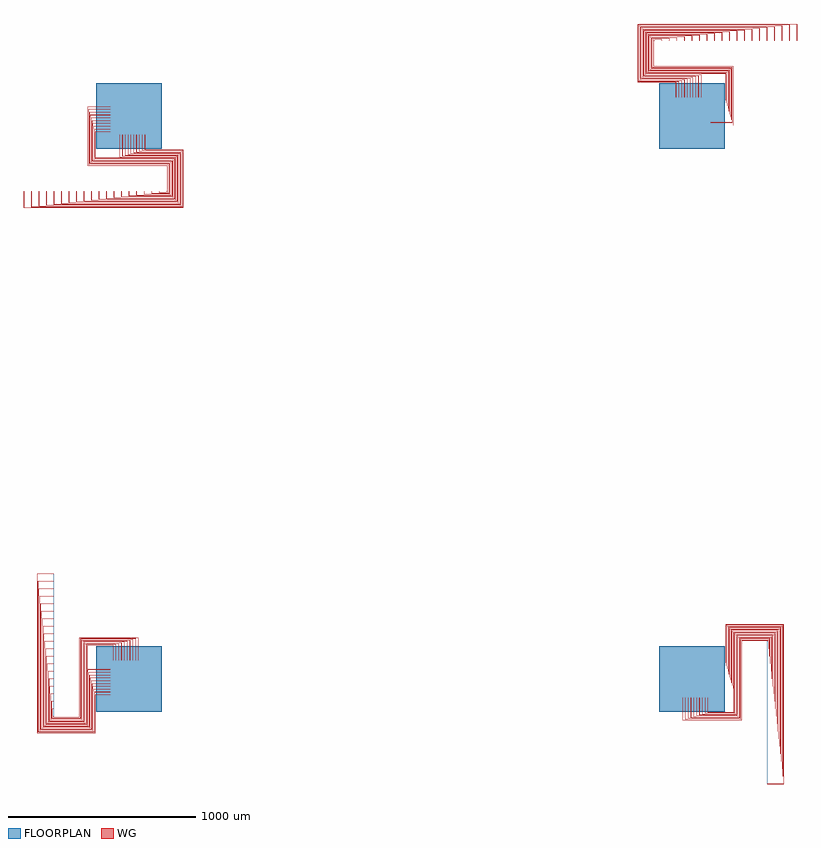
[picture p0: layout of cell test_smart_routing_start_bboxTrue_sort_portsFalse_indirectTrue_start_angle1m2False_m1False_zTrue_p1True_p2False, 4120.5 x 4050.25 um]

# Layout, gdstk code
import gdstk
lib = gdstk.Library(unit=1e-6, precision=1e-09)
def R(c, l, rs):  # rectangles x0, y0, x1, y1
    for r in rs: c.add(gdstk.rectangle(r[:2], r[2:], *l))
def P(c, l, *ps):  # polygons
    for p in ps: c.add(gdstk.Polygon(p, *l))
WG = (1, 0)
FLOORPLAN = (10, 0)

test_smart_routing_start = lib.new_cell('test_smart_routing_start_bboxTrue_sort_portsFalse_indirectTrue_start_angle1m2False_m1False_zTrue_p1True_p2False')
P(test_smart_routing_start, WG, [(3100,2949.75),(3100,2949.95),(3219.8,2949.95),(3219.8,3264.8),(2795.55,3264.8),(2795.55,3404.2),(2799.95,3404.2),(2799.95,3400),(2799.75,3400),(2799.75,3404),(2795.75,3404),(2795.75,3265),(3220,3265),(3220,2949.75)],
  [(3100,2950.05),(3100,2950.25),(3219.5,2950.25),(3219.5,3264.5),(2795.25,3264.5),(2795.25,3404.5),(2800.25,3404.5),(2800.25,3400),(2800.05,3400),(2800.05,3404.3),(2795.45,3404.3),(2795.45,3264.7),(3219.7,3264.7),(3219.7,2950.05)],
  [(3100,2964.75),(3100,2964.95),(3215.3,2964.95),(3215.3,3260.3),(2791.05,3260.3),(2791.05,3408.7),(2839.95,3408.7),(2839.95,3400),(2839.75,3400),(2839.75,3408.5),(2791.25,3408.5),(2791.25,3260.5),(3215.5,3260.5),(3215.5,2964.75)],
  [(3100,2965.05),(3100,2965.25),(3215,2965.25),(3215,3260),(2790.75,3260),(2790.75,3409),(2840.25,3409),(2840.25,3400),(2840.05,3400),(2840.05,3408.8),(2790.95,3408.8),(2790.95,3260.2),(3215.2,3260.2),(3215.2,2965.05)],
  [(3100,2979.75),(3100,2979.95),(3210.8,2979.95),(3210.8,3255.8),(2786.55,3255.8),(2786.55,3413.2),(2879.95,3413.2),(2879.95,3400),(2879.75,3400),(2879.75,3413),(2786.75,3413),(2786.75,3256),(3211,3256),(3211,2979.75)],
  [(3100,2980.05),(3100,2980.25),(3210.5,2980.25),(3210.5,3255.5),(2786.25,3255.5),(2786.25,3413.5),(2880.25,3413.5),(2880.25,3400),(2880.05,3400),(2880.05,3413.3),(2786.45,3413.3),(2786.45,3255.7),(3210.7,3255.7),(3210.7,2980.05)],
  [(3100,2994.75),(3100,2994.95),(3206.3,2994.95),(3206.3,3251.3),(2782.05,3251.3),(2782.05,3417.7),(2919.95,3417.7),(2919.95,3400),(2919.75,3400),(2919.75,3417.5),(2782.25,3417.5),(2782.25,3251.5),(3206.5,3251.5),(3206.5,2994.75)],
  [(3100,2995.05),(3100,2995.25),(3206,2995.25),(3206,3251),(2781.75,3251),(2781.75,3418),(2920.25,3418),(2920.25,3400),(2920.05,3400),(2920.05,3417.8),(2781.95,3417.8),(2781.95,3251.2),(3206.2,3251.2),(3206.2,2995.05)],
  [(3100,3009.75),(3100,3009.95),(3201.8,3009.95),(3201.8,3246.8),(2777.55,3246.8),(2777.55,3422.2),(2959.95,3422.2),(2959.95,3400),(2959.75,3400),(2959.75,3422),(2777.75,3422),(2777.75,3247),(3202,3247),(3202,3009.75)],
  [(3100,3010.05),(3100,3010.25),(3201.5,3010.25),(3201.5,3246.5),(2777.25,3246.5),(2777.25,3422.5),(2960.25,3422.5),(2960.25,3400),(2960.05,3400),(2960.05,3422.3),(2777.45,3422.3),(2777.45,3246.7),(3201.7,3246.7),(3201.7,3010.05)],
  [(3100,3024.75),(3100,3024.95),(3197.3,3024.95),(3197.3,3242.3),(2773.05,3242.3),(2773.05,3426.7),(2999.95,3426.7),(2999.95,3400),(2999.75,3400),(2999.75,3426.5),(2773.25,3426.5),(2773.25,3242.5),(3197.5,3242.5),(3197.5,3024.75)],
  [(3100,3025.05),(3100,3025.25),(3197,3025.25),(3197,3242),(2772.75,3242),(2772.75,3427),(3000.25,3427),(3000.25,3400),(3000.05,3400),(3000.05,3426.8),(2772.95,3426.8),(2772.95,3242.2),(3197.2,3242.2),(3197.2,3025.05)],
  [(3100,3039.75),(3100,3039.95),(3192.8,3039.95),(3192.8,3237.8),(2768.55,3237.8),(2768.55,3431.2),(3039.95,3431.2),(3039.95,3400),(3039.75,3400),(3039.75,3431),(2768.75,3431),(2768.75,3238),(3193,3238),(3193,3039.75)],
  [(3100,3040.05),(3100,3040.25),(3192.5,3040.25),(3192.5,3237.5),(2768.25,3237.5),(2768.25,3431.5),(3040.25,3431.5),(3040.25,3400),(3040.05,3400),(3040.05,3431.3),(2768.45,3431.3),(2768.45,3237.7),(3192.7,3237.7),(3192.7,3040.05)],
  [(3100,3054.75),(3100,3054.95),(3188.3,3054.95),(3188.3,3233.3),(2764.05,3233.3),(2764.05,3435.7),(3079.95,3435.7),(3079.95,3400),(3079.75,3400),(3079.75,3435.5),(2764.25,3435.5),(2764.25,3233.5),(3188.5,3233.5),(3188.5,3054.75)],
  [(3100,3055.05),(3100,3055.25),(3188,3055.25),(3188,3233),(2763.75,3233),(2763.75,3436),(3080.25,3436),(3080.25,3400),(3080.05,3400),(3080.05,3435.8),(2763.95,3435.8),(2763.95,3233.2),(3188.2,3233.2),(3188.2,3055.05)],
  [(3100,3069.75),(3100,3069.95),(3183.8,3069.95),(3183.8,3228.8),(2759.55,3228.8),(2759.55,3440.2),(3119.95,3440.2),(3119.95,3400),(3119.75,3400),(3119.75,3440),(2759.75,3440),(2759.75,3229),(3184,3229),(3184,3069.75)],
  [(3100,3070.05),(3100,3070.25),(3183.5,3070.25),(3183.5,3228.5),(2759.25,3228.5),(2759.25,3440.5),(3120.25,3440.5),(3120.25,3400),(3120.05,3400),(3120.05,3440.3),(2759.45,3440.3),(2759.45,3228.7),(3183.7,3228.7),(3183.7,3070.05)],
  [(3100,3084.75),(3100,3084.95),(3179.3,3084.95),(3179.3,3224.3),(2755.05,3224.3),(2755.05,3444.7),(3159.95,3444.7),(3159.95,3400),(3159.75,3400),(3159.75,3444.5),(2755.25,3444.5),(2755.25,3224.5),(3179.5,3224.5),(3179.5,3084.75)],
  [(3100,3085.05),(3100,3085.25),(3179,3085.25),(3179,3224),(2754.75,3224),(2754.75,3445),(3160.25,3445),(3160.25,3400),(3160.05,3400),(3160.05,3444.8),(2754.95,3444.8),(2754.95,3224.2),(3179.2,3224.2),(3179.2,3085.05)],
  [(3050.05,3100),(3050.05,3219.8),(2750.55,3219.8),(2750.55,3449.2),(3199.95,3449.2),(3199.95,3400),(3199.75,3400),(3199.75,3449),(2750.75,3449),(2750.75,3220),(3050.25,3220),(3050.25,3100)],
  [(3049.75,3100),(3049.75,3219.5),(2750.25,3219.5),(2750.25,3449.5),(3200.25,3449.5),(3200.25,3400),(3200.05,3400),(3200.05,3449.3),(2750.45,3449.3),(2750.45,3219.7),(3049.95,3219.7),(3049.95,3100)],
  [(3035.05,3100),(3035.05,3215.3),(2746.05,3215.3),(2746.05,3453.7),(3239.95,3453.7),(3239.95,3400),(3239.75,3400),(3239.75,3453.5),(2746.25,3453.5),(2746.25,3215.5),(3035.25,3215.5),(3035.25,3100)],
  [(3034.75,3100),(3034.75,3215),(2745.75,3215),(2745.75,3454),(3240.25,3454),(3240.25,3400),(3240.05,3400),(3240.05,3453.8),(2745.95,3453.8),(2745.95,3215.2),(3034.95,3215.2),(3034.95,3100)],
  [(3020.05,3100),(3020.05,3210.8),(2741.55,3210.8),(2741.55,3458.2),(3279.95,3458.2),(3279.95,3400),(3279.75,3400),(3279.75,3458),(2741.75,3458),(2741.75,3211),(3020.25,3211),(3020.25,3100)],
  [(3019.75,3100),(3019.75,3210.5),(2741.25,3210.5),(2741.25,3458.5),(3280.25,3458.5),(3280.25,3400),(3280.05,3400),(3280.05,3458.3),(2741.45,3458.3),(2741.45,3210.7),(3019.95,3210.7),(3019.95,3100)],
  [(3005.05,3100),(3005.05,3206.3),(2737.05,3206.3),(2737.05,3462.7),(3319.95,3462.7),(3319.95,3400),(3319.75,3400),(3319.75,3462.5),(2737.25,3462.5),(2737.25,3206.5),(3005.25,3206.5),(3005.25,3100)],
  [(3004.75,3100),(3004.75,3206),(2736.75,3206),(2736.75,3463),(3320.25,3463),(3320.25,3400),(3320.05,3400),(3320.05,3462.8),(2736.95,3462.8),(2736.95,3206.2),(3004.95,3206.2),(3004.95,3100)],
  [(2990.05,3100),(2990.05,3201.8),(2732.55,3201.8),(2732.55,3467.2),(3359.95,3467.2),(3359.95,3400),(3359.75,3400),(3359.75,3467),(2732.75,3467),(2732.75,3202),(2990.25,3202),(2990.25,3100)],
  [(2989.75,3100),(2989.75,3201.5),(2732.25,3201.5),(2732.25,3467.5),(3360.25,3467.5),(3360.25,3400),(3360.05,3400),(3360.05,3467.3),(2732.45,3467.3),(2732.45,3201.7),(2989.95,3201.7),(2989.95,3100)],
  [(2975.05,3100),(2975.05,3197.3),(2728.05,3197.3),(2728.05,3471.7),(3399.95,3471.7),(3399.95,3400),(3399.75,3400),(3399.75,3471.5),(2728.25,3471.5),(2728.25,3197.5),(2975.25,3197.5),(2975.25,3100)],
  [(2974.75,3100),(2974.75,3197),(2727.75,3197),(2727.75,3472),(3400.25,3472),(3400.25,3400),(3400.05,3400),(3400.05,3471.8),(2727.95,3471.8),(2727.95,3197.2),(2974.95,3197.2),(2974.95,3100)],
  [(2960.05,3100),(2960.05,3192.8),(2723.55,3192.8),(2723.55,3476.2),(3439.95,3476.2),(3439.95,3400),(3439.75,3400),(3439.75,3476),(2723.75,3476),(2723.75,3193),(2960.25,3193),(2960.25,3100)],
  [(2959.75,3100),(2959.75,3192.5),(2723.25,3192.5),(2723.25,3476.5),(3440.25,3476.5),(3440.25,3400),(3440.05,3400),(3440.05,3476.3),(2723.45,3476.3),(2723.45,3192.7),(2959.95,3192.7),(2959.95,3100)],
  [(2945.05,3100),(2945.05,3188.3),(2719.05,3188.3),(2719.05,3480.7),(3479.95,3480.7),(3479.95,3400),(3479.75,3400),(3479.75,3480.5),(2719.25,3480.5),(2719.25,3188.5),(2945.25,3188.5),(2945.25,3100)],
  [(2944.75,3100),(2944.75,3188),(2718.75,3188),(2718.75,3481),(3480.25,3481),(3480.25,3400),(3480.05,3400),(3480.05,3480.8),(2718.95,3480.8),(2718.95,3188.2),(2944.95,3188.2),(2944.95,3100)],
  [(2930.05,3100),(2930.05,3183.8),(2714.55,3183.8),(2714.55,3485.2),(3519.95,3485.2),(3519.95,3400),(3519.75,3400),(3519.75,3485),(2714.75,3485),(2714.75,3184),(2930.25,3184),(2930.25,3100)],
  [(2929.75,3100),(2929.75,3183.5),(2714.25,3183.5),(2714.25,3485.5),(3520.25,3485.5),(3520.25,3400),(3520.05,3400),(3520.05,3485.3),(2714.45,3485.3),(2714.45,3183.7),(2929.95,3183.7),(2929.95,3100)],
  [(2915.05,3100),(2915.05,3179.3),(2710.05,3179.3),(2710.05,3489.7),(3559.95,3489.7),(3559.95,3400),(3559.75,3400),(3559.75,3489.5),(2710.25,3489.5),(2710.25,3179.5),(2915.25,3179.5),(2915.25,3100)],
  [(2914.75,3100),(2914.75,3179),(2709.75,3179),(2709.75,3490),(3560.25,3490),(3560.25,3400),(3560.05,3400),(3560.05,3489.8),(2709.95,3489.8),(2709.95,3179.2),(2914.95,3179.2),(2914.95,3100)],
  [(199.75,2595.5),(199.75,2600),(199.95,2600),(199.95,2595.7),(204.55,2595.7),(204.55,2735.3),(-219.7,2735.3),(-219.7,3049.95),(-100,3049.95),(-100,3049.75),(-219.5,3049.75),(-219.5,2735.5),(204.75,2735.5),(204.75,2595.5)],
  [(200.05,2595.8),(200.05,2600),(200.25,2600),(200.25,2596),(204.25,2596),(204.25,2735),(-220,2735),(-220,3050.25),(-100,3050.25),(-100,3050.05),(-219.8,3050.05),(-219.8,2735.2),(204.45,2735.2),(204.45,2595.8)],
  [(159.75,2591),(159.75,2600),(159.95,2600),(159.95,2591.2),(209.05,2591.2),(209.05,2739.8),(-215.2,2739.8),(-215.2,3034.95),(-100,3034.95),(-100,3034.75),(-215,3034.75),(-215,2740),(209.25,2740),(209.25,2591)],
  [(160.05,2591.3),(160.05,2600),(160.25,2600),(160.25,2591.5),(208.75,2591.5),(208.75,2739.5),(-215.5,2739.5),(-215.5,3035.25),(-100,3035.25),(-100,3035.05),(-215.3,3035.05),(-215.3,2739.7),(208.95,2739.7),(208.95,2591.3)],
  [(119.75,2586.5),(119.75,2600),(119.95,2600),(119.95,2586.7),(213.55,2586.7),(213.55,2744.3),(-210.7,2744.3),(-210.7,3019.95),(-100,3019.95),(-100,3019.75),(-210.5,3019.75),(-210.5,2744.5),(213.75,2744.5),(213.75,2586.5)],
  [(120.05,2586.8),(120.05,2600),(120.25,2600),(120.25,2587),(213.25,2587),(213.25,2744),(-211,2744),(-211,3020.25),(-100,3020.25),(-100,3020.05),(-210.8,3020.05),(-210.8,2744.2),(213.45,2744.2),(213.45,2586.8)],
  [(79.75,2582),(79.75,2600),(79.95,2600),(79.95,2582.2),(218.05,2582.2),(218.05,2748.8),(-206.2,2748.8),(-206.2,3004.95),(-100,3004.95),(-100,3004.75),(-206,3004.75),(-206,2749),(218.25,2749),(218.25,2582)],
  [(80.05,2582.3),(80.05,2600),(80.25,2600),(80.25,2582.5),(217.75,2582.5),(217.75,2748.5),(-206.5,2748.5),(-206.5,3005.25),(-100,3005.25),(-100,3005.05),(-206.3,3005.05),(-206.3,2748.7),(217.95,2748.7),(217.95,2582.3)],
  [(39.75,2577.5),(39.75,2600),(39.95,2600),(39.95,2577.7),(222.55,2577.7),(222.55,2753.3),(-201.7,2753.3),(-201.7,2989.95),(-100,2989.95),(-100,2989.75),(-201.5,2989.75),(-201.5,2753.5),(222.75,2753.5),(222.75,2577.5)],
  [(40.05,2577.8),(40.05,2600),(40.25,2600),(40.25,2578),(222.25,2578),(222.25,2753),(-202,2753),(-202,2990.25),(-100,2990.25),(-100,2990.05),(-201.8,2990.05),(-201.8,2753.2),(222.45,2753.2),(222.45,2577.8)],
  [(-0.25,2573),(-0.25,2600),(-0.05,2600),(-0.05,2573.2),(227.05,2573.2),(227.05,2757.8),(-197.2,2757.8),(-197.2,2974.95),(-100,2974.95),(-100,2974.75),(-197,2974.75),(-197,2758),(227.25,2758),(227.25,2573)],
  [(0.05,2573.3),(0.05,2600),(0.25,2600),(0.25,2573.5),(226.75,2573.5),(226.75,2757.5),(-197.5,2757.5),(-197.5,2975.25),(-100,2975.25),(-100,2975.05),(-197.3,2975.05),(-197.3,2757.7),(226.95,2757.7),(226.95,2573.3)],
  [(-40.25,2568.5),(-40.25,2600),(-40.05,2600),(-40.05,2568.7),(231.55,2568.7),(231.55,2762.3),(-192.7,2762.3),(-192.7,2959.95),(-100,2959.95),(-100,2959.75),(-192.5,2959.75),(-192.5,2762.5),(231.75,2762.5),(231.75,2568.5)],
  [(-39.95,2568.8),(-39.95,2600),(-39.75,2600),(-39.75,2569),(231.25,2569),(231.25,2762),(-193,2762),(-193,2960.25),(-100,2960.25),(-100,2960.05),(-192.8,2960.05),(-192.8,2762.2),(231.45,2762.2),(231.45,2568.8)],
  [(-80.25,2564),(-80.25,2600),(-80.05,2600),(-80.05,2564.2),(236.05,2564.2),(236.05,2766.8),(-188.2,2766.8),(-188.2,2944.95),(-100,2944.95),(-100,2944.75),(-188,2944.75),(-188,2767),(236.25,2767),(236.25,2564)],
  [(-79.95,2564.3),(-79.95,2600),(-79.75,2600),(-79.75,2564.5),(235.75,2564.5),(235.75,2766.5),(-188.5,2766.5),(-188.5,2945.25),(-100,2945.25),(-100,2945.05),(-188.3,2945.05),(-188.3,2766.7),(235.95,2766.7),(235.95,2564.3)],
  [(-120.25,2559.5),(-120.25,2600),(-120.05,2600),(-120.05,2559.7),(240.55,2559.7),(240.55,2771.3),(-183.7,2771.3),(-183.7,2929.95),(-100,2929.95),(-100,2929.75),(-183.5,2929.75),(-183.5,2771.5),(240.75,2771.5),(240.75,2559.5)],
  [(-119.95,2559.8),(-119.95,2600),(-119.75,2600),(-119.75,2560),(240.25,2560),(240.25,2771),(-184,2771),(-184,2930.25),(-100,2930.25),(-100,2930.05),(-183.8,2930.05),(-183.8,2771.2),(240.45,2771.2),(240.45,2559.8)],
  [(-160.25,2555),(-160.25,2600),(-160.05,2600),(-160.05,2555.2),(245.05,2555.2),(245.05,2775.8),(-179.2,2775.8),(-179.2,2914.95),(-100,2914.95),(-100,2914.75),(-179,2914.75),(-179,2776),(245.25,2776),(245.25,2555)],
  [(-159.95,2555.3),(-159.95,2600),(-159.75,2600),(-159.75,2555.5),(244.75,2555.5),(244.75,2775.5),(-179.5,2775.5),(-179.5,2915.25),(-100,2915.25),(-100,2915.05),(-179.3,2915.05),(-179.3,2775.7),(244.95,2775.7),(244.95,2555.3)],
  [(-199.95,2550.8),(-199.95,2600),(-199.75,2600),(-199.75,2551),(249.25,2551),(249.25,2780),(-50.25,2780),(-50.25,2900),(-50.05,2900),(-50.05,2780.2),(249.45,2780.2),(249.45,2550.8)],
  [(-200.25,2550.5),(-200.25,2600),(-200.05,2600),(-200.05,2550.7),(249.55,2550.7),(249.55,2780.3),(-49.95,2780.3),(-49.95,2900),(-49.75,2900),(-49.75,2780.5),(249.75,2780.5),(249.75,2550.5)],
  [(-239.95,2546.3),(-239.95,2600),(-239.75,2600),(-239.75,2546.5),(253.75,2546.5),(253.75,2784.5),(-35.25,2784.5),(-35.25,2900),(-35.05,2900),(-35.05,2784.7),(253.95,2784.7),(253.95,2546.3)],
  [(-240.25,2546),(-240.25,2600),(-240.05,2600),(-240.05,2546.2),(254.05,2546.2),(254.05,2784.8),(-34.95,2784.8),(-34.95,2900),(-34.75,2900),(-34.75,2785),(254.25,2785),(254.25,2546)],
  [(-279.95,2541.8),(-279.95,2600),(-279.75,2600),(-279.75,2542),(258.25,2542),(258.25,2789),(-20.25,2789),(-20.25,2900),(-20.05,2900),(-20.05,2789.2),(258.45,2789.2),(258.45,2541.8)],
  [(-280.25,2541.5),(-280.25,2600),(-280.05,2600),(-280.05,2541.7),(258.55,2541.7),(258.55,2789.3),(-19.95,2789.3),(-19.95,2900),(-19.75,2900),(-19.75,2789.5),(258.75,2789.5),(258.75,2541.5)],
  [(-319.95,2537.3),(-319.95,2600),(-319.75,2600),(-319.75,2537.5),(262.75,2537.5),(262.75,2793.5),(-5.25,2793.5),(-5.25,2900),(-5.05,2900),(-5.05,2793.7),(262.95,2793.7),(262.95,2537.3)],
  [(-320.25,2537),(-320.25,2600),(-320.05,2600),(-320.05,2537.2),(263.05,2537.2),(263.05,2793.8),(-4.95,2793.8),(-4.95,2900),(-4.75,2900),(-4.75,2794),(263.25,2794),(263.25,2537)],
  [(-359.95,2532.8),(-359.95,2600),(-359.75,2600),(-359.75,2533),(267.25,2533),(267.25,2798),(9.75,2798),(9.75,2900),(9.95,2900),(9.95,2798.2),(267.45,2798.2),(267.45,2532.8)],
  [(-360.25,2532.5),(-360.25,2600),(-360.05,2600),(-360.05,2532.7),(267.55,2532.7),(267.55,2798.3),(10.05,2798.3),(10.05,2900),(10.25,2900),(10.25,2798.5),(267.75,2798.5),(267.75,2532.5)],
  [(-399.95,2528.3),(-399.95,2600),(-399.75,2600),(-399.75,2528.5),(271.75,2528.5),(271.75,2802.5),(24.75,2802.5),(24.75,2900),(24.95,2900),(24.95,2802.7),(271.95,2802.7),(271.95,2528.3)],
  [(-400.25,2528),(-400.25,2600),(-400.05,2600),(-400.05,2528.2),(272.05,2528.2),(272.05,2802.8),(25.05,2802.8),(25.05,2900),(25.25,2900),(25.25,2803),(272.25,2803),(272.25,2528)],
  [(-439.95,2523.8),(-439.95,2600),(-439.75,2600),(-439.75,2524),(276.25,2524),(276.25,2807),(39.75,2807),(39.75,2900),(39.95,2900),(39.95,2807.2),(276.45,2807.2),(276.45,2523.8)],
  [(-440.25,2523.5),(-440.25,2600),(-440.05,2600),(-440.05,2523.7),(276.55,2523.7),(276.55,2807.3),(40.05,2807.3),(40.05,2900),(40.25,2900),(40.25,2807.5),(276.75,2807.5),(276.75,2523.5)],
  [(-479.95,2519.3),(-479.95,2600),(-479.75,2600),(-479.75,2519.5),(280.75,2519.5),(280.75,2811.5),(54.75,2811.5),(54.75,2900),(54.95,2900),(54.95,2811.7),(280.95,2811.7),(280.95,2519.3)],
  [(-480.25,2519),(-480.25,2600),(-480.05,2600),(-480.05,2519.2),(281.05,2519.2),(281.05,2811.8),(55.05,2811.8),(55.05,2900),(55.25,2900),(55.25,2812),(281.25,2812),(281.25,2519)],
  [(-519.95,2514.8),(-519.95,2600),(-519.75,2600),(-519.75,2515),(285.25,2515),(285.25,2816),(69.75,2816),(69.75,2900),(69.95,2900),(69.95,2816.2),(285.45,2816.2),(285.45,2514.8)],
  [(-520.25,2514.5),(-520.25,2600),(-520.05,2600),(-520.05,2514.7),(285.55,2514.7),(285.55,2816.3),(70.05,2816.3),(70.05,2900),(70.25,2900),(70.25,2816.5),(285.75,2816.5),(285.75,2514.5)],
  [(-559.95,2510.3),(-559.95,2600),(-559.75,2600),(-559.75,2510.5),(289.75,2510.5),(289.75,2820.5),(84.75,2820.5),(84.75,2900),(84.95,2900),(84.95,2820.7),(289.95,2820.7),(289.95,2510.3)],
  [(-560.25,2510),(-560.25,2600),(-560.05,2600),(-560.05,2510.2),(290.05,2510.2),(290.05,2820.8),(85.05,2820.8),(85.05,2900),(85.25,2900),(85.25,2821),(290.25,2821),(290.25,2510)],
  [(-404.5,-204.75),(-404.5,-199.75),(-400,-199.75),(-400,-199.95),(-404.3,-199.95),(-404.3,-204.55),(-264.7,-204.55),(-264.7,219.7),(49.95,219.7),(49.95,100),(49.75,100),(49.75,219.5),(-264.5,219.5),(-264.5,-204.75)],
  [(-404.2,-204.45),(-404.2,-200.05),(-400,-200.05),(-400,-200.25),(-404,-200.25),(-404,-204.25),(-265,-204.25),(-265,220),(50.25,220),(50.25,100),(50.05,100),(50.05,219.8),(-264.8,219.8),(-264.8,-204.45)],
  [(-409,-209.25),(-409,-159.75),(-400,-159.75),(-400,-159.95),(-408.8,-159.95),(-408.8,-209.05),(-260.2,-209.05),(-260.2,215.2),(34.95,215.2),(34.95,100),(34.75,100),(34.75,215),(-260,215),(-260,-209.25)],
  [(-408.7,-208.95),(-408.7,-160.05),(-400,-160.05),(-400,-160.25),(-408.5,-160.25),(-408.5,-208.75),(-260.5,-208.75),(-260.5,215.5),(35.25,215.5),(35.25,100),(35.05,100),(35.05,215.3),(-260.3,215.3),(-260.3,-208.95)],
  [(-413.5,-213.75),(-413.5,-119.75),(-400,-119.75),(-400,-119.95),(-413.3,-119.95),(-413.3,-213.55),(-255.7,-213.55),(-255.7,210.7),(19.95,210.7),(19.95,100),(19.75,100),(19.75,210.5),(-255.5,210.5),(-255.5,-213.75)],
  [(-413.2,-213.45),(-413.2,-120.05),(-400,-120.05),(-400,-120.25),(-413,-120.25),(-413,-213.25),(-256,-213.25),(-256,211),(20.25,211),(20.25,100),(20.05,100),(20.05,210.8),(-255.8,210.8),(-255.8,-213.45)],
  [(-418,-218.25),(-418,-79.75),(-400,-79.75),(-400,-79.95),(-417.8,-79.95),(-417.8,-218.05),(-251.2,-218.05),(-251.2,206.2),(4.95,206.2),(4.95,100),(4.75,100),(4.75,206),(-251,206),(-251,-218.25)],
  [(-417.7,-217.95),(-417.7,-80.05),(-400,-80.05),(-400,-80.25),(-417.5,-80.25),(-417.5,-217.75),(-251.5,-217.75),(-251.5,206.5),(5.25,206.5),(5.25,100),(5.05,100),(5.05,206.3),(-251.3,206.3),(-251.3,-217.95)],
  [(-422.5,-222.75),(-422.5,-39.75),(-400,-39.75),(-400,-39.95),(-422.3,-39.95),(-422.3,-222.55),(-246.7,-222.55),(-246.7,201.7),(-10.05,201.7),(-10.05,100),(-10.25,100),(-10.25,201.5),(-246.5,201.5),(-246.5,-222.75)],
  [(-422.2,-222.45),(-422.2,-40.05),(-400,-40.05),(-400,-40.25),(-422,-40.25),(-422,-222.25),(-247,-222.25),(-247,202),(-9.75,202),(-9.75,100),(-9.95,100),(-9.95,201.8),(-246.8,201.8),(-246.8,-222.45)],
  [(-427,-227.25),(-427,0.25),(-400,0.25),(-400,0.05),(-426.8,0.05),(-426.8,-227.05),(-242.2,-227.05),(-242.2,197.2),(-25.05,197.2),(-25.05,100),(-25.25,100),(-25.25,197),(-242,197),(-242,-227.25)],
  [(-426.7,-226.95),(-426.7,-0.05),(-400,-0.05),(-400,-0.25),(-426.5,-0.25),(-426.5,-226.75),(-242.5,-226.75),(-242.5,197.5),(-24.75,197.5),(-24.75,100),(-24.95,100),(-24.95,197.3),(-242.3,197.3),(-242.3,-226.95)],
  [(-431.5,-231.75),(-431.5,40.25),(-400,40.25),(-400,40.05),(-431.3,40.05),(-431.3,-231.55),(-237.7,-231.55),(-237.7,192.7),(-40.05,192.7),(-40.05,100),(-40.25,100),(-40.25,192.5),(-237.5,192.5),(-237.5,-231.75)],
  [(-431.2,-231.45),(-431.2,39.95),(-400,39.95),(-400,39.75),(-431,39.75),(-431,-231.25),(-238,-231.25),(-238,193),(-39.75,193),(-39.75,100),(-39.95,100),(-39.95,192.8),(-237.8,192.8),(-237.8,-231.45)],
  [(-436,-236.25),(-436,80.25),(-400,80.25),(-400,80.05),(-435.8,80.05),(-435.8,-236.05),(-233.2,-236.05),(-233.2,188.2),(-55.05,188.2),(-55.05,100),(-55.25,100),(-55.25,188),(-233,188),(-233,-236.25)],
  [(-435.7,-235.95),(-435.7,79.95),(-400,79.95),(-400,79.75),(-435.5,79.75),(-435.5,-235.75),(-233.5,-235.75),(-233.5,188.5),(-54.75,188.5),(-54.75,100),(-54.95,100),(-54.95,188.3),(-233.3,188.3),(-233.3,-235.95)],
  [(-440.5,-240.75),(-440.5,120.25),(-400,120.25),(-400,120.05),(-440.3,120.05),(-440.3,-240.55),(-228.7,-240.55),(-228.7,183.7),(-70.05,183.7),(-70.05,100),(-70.25,100),(-70.25,183.5),(-228.5,183.5),(-228.5,-240.75)],
  [(-440.2,-240.45),(-440.2,119.95),(-400,119.95),(-400,119.75),(-440,119.75),(-440,-240.25),(-229,-240.25),(-229,184),(-69.75,184),(-69.75,100),(-69.95,100),(-69.95,183.8),(-228.8,183.8),(-228.8,-240.45)],
  [(-445,-245.25),(-445,160.25),(-400,160.25),(-400,160.05),(-444.8,160.05),(-444.8,-245.05),(-224.2,-245.05),(-224.2,179.2),(-85.05,179.2),(-85.05,100),(-85.25,100),(-85.25,179),(-224,179),(-224,-245.25)],
  [(-444.7,-244.95),(-444.7,159.95),(-400,159.95),(-400,159.75),(-444.5,159.75),(-444.5,-244.75),(-224.5,-244.75),(-224.5,179.5),(-84.75,179.5),(-84.75,100),(-84.95,100),(-84.95,179.3),(-224.3,179.3),(-224.3,-244.95)],
  [(-449.2,-249.45),(-449.2,199.95),(-400,199.95),(-400,199.75),(-449,199.75),(-449,-249.25),(-220,-249.25),(-220,50.25),(-100,50.25),(-100,50.05),(-219.8,50.05),(-219.8,-249.45)],
  [(-449.5,-249.75),(-449.5,200.25),(-400,200.25),(-400,200.05),(-449.3,200.05),(-449.3,-249.55),(-219.7,-249.55),(-219.7,49.95),(-100,49.95),(-100,49.75),(-219.5,49.75),(-219.5,-249.75)],
  [(-453.7,-253.95),(-453.7,239.95),(-400,239.95),(-400,239.75),(-453.5,239.75),(-453.5,-253.75),(-215.5,-253.75),(-215.5,35.25),(-100,35.25),(-100,35.05),(-215.3,35.05),(-215.3,-253.95)],
  [(-454,-254.25),(-454,240.25),(-400,240.25),(-400,240.05),(-453.8,240.05),(-453.8,-254.05),(-215.2,-254.05),(-215.2,34.95),(-100,34.95),(-100,34.75),(-215,34.75),(-215,-254.25)],
  [(-458.2,-258.45),(-458.2,279.95),(-400,279.95),(-400,279.75),(-458,279.75),(-458,-258.25),(-211,-258.25),(-211,20.25),(-100,20.25),(-100,20.05),(-210.8,20.05),(-210.8,-258.45)],
  [(-458.5,-258.75),(-458.5,280.25),(-400,280.25),(-400,280.05),(-458.3,280.05),(-458.3,-258.55),(-210.7,-258.55),(-210.7,19.95),(-100,19.95),(-100,19.75),(-210.5,19.75),(-210.5,-258.75)],
  [(-462.7,-262.95),(-462.7,319.95),(-400,319.95),(-400,319.75),(-462.5,319.75),(-462.5,-262.75),(-206.5,-262.75),(-206.5,5.25),(-100,5.25),(-100,5.05),(-206.3,5.05),(-206.3,-262.95)],
  [(-463,-263.25),(-463,320.25),(-400,320.25),(-400,320.05),(-462.8,320.05),(-462.8,-263.05),(-206.2,-263.05),(-206.2,4.95),(-100,4.95),(-100,4.75),(-206,4.75),(-206,-263.25)],
  [(-467.2,-267.45),(-467.2,359.95),(-400,359.95),(-400,359.75),(-467,359.75),(-467,-267.25),(-202,-267.25),(-202,-9.75),(-100,-9.75),(-100,-9.95),(-201.8,-9.95),(-201.8,-267.45)],
  [(-467.5,-267.75),(-467.5,360.25),(-400,360.25),(-400,360.05),(-467.3,360.05),(-467.3,-267.55),(-201.7,-267.55),(-201.7,-10.05),(-100,-10.05),(-100,-10.25),(-201.5,-10.25),(-201.5,-267.75)],
  [(-471.7,-271.95),(-471.7,399.95),(-400,399.95),(-400,399.75),(-471.5,399.75),(-471.5,-271.75),(-197.5,-271.75),(-197.5,-24.75),(-100,-24.75),(-100,-24.95),(-197.3,-24.95),(-197.3,-271.95)],
  [(-472,-272.25),(-472,400.25),(-400,400.25),(-400,400.05),(-471.8,400.05),(-471.8,-272.05),(-197.2,-272.05),(-197.2,-25.05),(-100,-25.05),(-100,-25.25),(-197,-25.25),(-197,-272.25)],
  [(-476.2,-276.45),(-476.2,439.95),(-400,439.95),(-400,439.75),(-476,439.75),(-476,-276.25),(-193,-276.25),(-193,-39.75),(-100,-39.75),(-100,-39.95),(-192.8,-39.95),(-192.8,-276.45)],
  [(-476.5,-276.75),(-476.5,440.25),(-400,440.25),(-400,440.05),(-476.3,440.05),(-476.3,-276.55),(-192.7,-276.55),(-192.7,-40.05),(-100,-40.05),(-100,-40.25),(-192.5,-40.25),(-192.5,-276.75)],
  [(-480.7,-280.95),(-480.7,479.95),(-400,479.95),(-400,479.75),(-480.5,479.75),(-480.5,-280.75),(-188.5,-280.75),(-188.5,-54.75),(-100,-54.75),(-100,-54.95),(-188.3,-54.95),(-188.3,-280.95)],
  [(-481,-281.25),(-481,480.25),(-400,480.25),(-400,480.05),(-480.8,480.05),(-480.8,-281.05),(-188.2,-281.05),(-188.2,-55.05),(-100,-55.05),(-100,-55.25),(-188,-55.25),(-188,-281.25)],
  [(-485.2,-285.45),(-485.2,519.95),(-400,519.95),(-400,519.75),(-485,519.75),(-485,-285.25),(-184,-285.25),(-184,-69.75),(-100,-69.75),(-100,-69.95),(-183.8,-69.95),(-183.8,-285.45)],
  [(-485.5,-285.75),(-485.5,520.25),(-400,520.25),(-400,520.05),(-485.3,520.05),(-485.3,-285.55),(-183.7,-285.55),(-183.7,-70.05),(-100,-70.05),(-100,-70.25),(-183.5,-70.25),(-183.5,-285.75)],
  [(-489.7,-289.95),(-489.7,559.95),(-400,559.95),(-400,559.75),(-489.5,559.75),(-489.5,-289.75),(-179.5,-289.75),(-179.5,-84.75),(-100,-84.75),(-100,-84.95),(-179.3,-84.95),(-179.3,-289.95)],
  [(-490,-290.25),(-490,560.25),(-400,560.25),(-400,560.05),(-489.8,560.05),(-489.8,-290.05),(-179.2,-290.05),(-179.2,-85.05),(-100,-85.05),(-100,-85.25),(-179,-85.25),(-179,-290.25)],
  [(2949.75,-220),(2949.75,-100),(2949.95,-100),(2949.95,-219.8),(3264.8,-219.8),(3264.8,204.45),(3404.2,204.45),(3404.2,200.05),(3400,200.05),(3400,200.25),(3404,200.25),(3404,204.25),(3265,204.25),(3265,-220)],
  [(2950.05,-219.7),(2950.05,-100),(2950.25,-100),(2950.25,-219.5),(3264.5,-219.5),(3264.5,204.75),(3404.5,204.75),(3404.5,199.75),(3400,199.75),(3400,199.95),(3404.3,199.95),(3404.3,204.55),(3264.7,204.55),(3264.7,-219.7)],
  [(2964.75,-215.5),(2964.75,-100),(2964.95,-100),(2964.95,-215.3),(3260.3,-215.3),(3260.3,208.95),(3408.7,208.95),(3408.7,160.05),(3400,160.05),(3400,160.25),(3408.5,160.25),(3408.5,208.75),(3260.5,208.75),(3260.5,-215.5)],
  [(2965.05,-215.2),(2965.05,-100),(2965.25,-100),(2965.25,-215),(3260,-215),(3260,209.25),(3409,209.25),(3409,159.75),(3400,159.75),(3400,159.95),(3408.8,159.95),(3408.8,209.05),(3260.2,209.05),(3260.2,-215.2)],
  [(2979.75,-211),(2979.75,-100),(2979.95,-100),(2979.95,-210.8),(3255.8,-210.8),(3255.8,213.45),(3413.2,213.45),(3413.2,120.05),(3400,120.05),(3400,120.25),(3413,120.25),(3413,213.25),(3256,213.25),(3256,-211)],
  [(2980.05,-210.7),(2980.05,-100),(2980.25,-100),(2980.25,-210.5),(3255.5,-210.5),(3255.5,213.75),(3413.5,213.75),(3413.5,119.75),(3400,119.75),(3400,119.95),(3413.3,119.95),(3413.3,213.55),(3255.7,213.55),(3255.7,-210.7)],
  [(2994.75,-206.5),(2994.75,-100),(2994.95,-100),(2994.95,-206.3),(3251.3,-206.3),(3251.3,217.95),(3417.7,217.95),(3417.7,80.05),(3400,80.05),(3400,80.25),(3417.5,80.25),(3417.5,217.75),(3251.5,217.75),(3251.5,-206.5)],
  [(2995.05,-206.2),(2995.05,-100),(2995.25,-100),(2995.25,-206),(3251,-206),(3251,218.25),(3418,218.25),(3418,79.75),(3400,79.75),(3400,79.95),(3417.8,79.95),(3417.8,218.05),(3251.2,218.05),(3251.2,-206.2)],
  [(3009.75,-202),(3009.75,-100),(3009.95,-100),(3009.95,-201.8),(3246.8,-201.8),(3246.8,222.45),(3422.2,222.45),(3422.2,40.05),(3400,40.05),(3400,40.25),(3422,40.25),(3422,222.25),(3247,222.25),(3247,-202)],
  [(3010.05,-201.7),(3010.05,-100),(3010.25,-100),(3010.25,-201.5),(3246.5,-201.5),(3246.5,222.75),(3422.5,222.75),(3422.5,39.75),(3400,39.75),(3400,39.95),(3422.3,39.95),(3422.3,222.55),(3246.7,222.55),(3246.7,-201.7)],
  [(3024.75,-197.5),(3024.75,-100),(3024.95,-100),(3024.95,-197.3),(3242.3,-197.3),(3242.3,226.95),(3426.7,226.95),(3426.7,0.05),(3400,0.05),(3400,0.25),(3426.5,0.25),(3426.5,226.75),(3242.5,226.75),(3242.5,-197.5)],
  [(3025.05,-197.2),(3025.05,-100),(3025.25,-100),(3025.25,-197),(3242,-197),(3242,227.25),(3427,227.25),(3427,-0.25),(3400,-0.25),(3400,-0.05),(3426.8,-0.05),(3426.8,227.05),(3242.2,227.05),(3242.2,-197.2)],
  [(3039.75,-193),(3039.75,-100),(3039.95,-100),(3039.95,-192.8),(3237.8,-192.8),(3237.8,231.45),(3431.2,231.45),(3431.2,-39.95),(3400,-39.95),(3400,-39.75),(3431,-39.75),(3431,231.25),(3238,231.25),(3238,-193)],
  [(3040.05,-192.7),(3040.05,-100),(3040.25,-100),(3040.25,-192.5),(3237.5,-192.5),(3237.5,231.75),(3431.5,231.75),(3431.5,-40.25),(3400,-40.25),(3400,-40.05),(3431.3,-40.05),(3431.3,231.55),(3237.7,231.55),(3237.7,-192.7)],
  [(3054.75,-188.5),(3054.75,-100),(3054.95,-100),(3054.95,-188.3),(3233.3,-188.3),(3233.3,235.95),(3435.7,235.95),(3435.7,-79.95),(3400,-79.95),(3400,-79.75),(3435.5,-79.75),(3435.5,235.75),(3233.5,235.75),(3233.5,-188.5)],
  [(3055.05,-188.2),(3055.05,-100),(3055.25,-100),(3055.25,-188),(3233,-188),(3233,236.25),(3436,236.25),(3436,-80.25),(3400,-80.25),(3400,-80.05),(3435.8,-80.05),(3435.8,236.05),(3233.2,236.05),(3233.2,-188.2)],
  [(3069.75,-184),(3069.75,-100),(3069.95,-100),(3069.95,-183.8),(3228.8,-183.8),(3228.8,240.45),(3440.2,240.45),(3440.2,-119.95),(3400,-119.95),(3400,-119.75),(3440,-119.75),(3440,240.25),(3229,240.25),(3229,-184)],
  [(3070.05,-183.7),(3070.05,-100),(3070.25,-100),(3070.25,-183.5),(3228.5,-183.5),(3228.5,240.75),(3440.5,240.75),(3440.5,-120.25),(3400,-120.25),(3400,-120.05),(3440.3,-120.05),(3440.3,240.55),(3228.7,240.55),(3228.7,-183.7)],
  [(3084.75,-179.5),(3084.75,-100),(3084.95,-100),(3084.95,-179.3),(3224.3,-179.3),(3224.3,244.95),(3444.7,244.95),(3444.7,-159.95),(3400,-159.95),(3400,-159.75),(3444.5,-159.75),(3444.5,244.75),(3224.5,244.75),(3224.5,-179.5)],
  [(3085.05,-179.2),(3085.05,-100),(3085.25,-100),(3085.25,-179),(3224,-179),(3224,245.25),(3445,245.25),(3445,-160.25),(3400,-160.25),(3400,-160.05),(3444.8,-160.05),(3444.8,245.05),(3224.2,245.05),(3224.2,-179.2)],
  [(3400,-199.95),(3400,-199.75),(3449,-199.75),(3449,249.25),(3220,249.25),(3220,-50.25),(3100,-50.25),(3100,-50.05),(3219.8,-50.05),(3219.8,249.45),(3449.2,249.45),(3449.2,-199.95)],
  [(3400,-200.25),(3400,-200.05),(3449.3,-200.05),(3449.3,249.55),(3219.7,249.55),(3219.7,-49.95),(3100,-49.95),(3100,-49.75),(3219.5,-49.75),(3219.5,249.75),(3449.5,249.75),(3449.5,-200.25)],
  [(3400,-239.95),(3400,-239.75),(3453.5,-239.75),(3453.5,253.75),(3215.5,253.75),(3215.5,-35.25),(3100,-35.25),(3100,-35.05),(3215.3,-35.05),(3215.3,253.95),(3453.7,253.95),(3453.7,-239.95)],
  [(3400,-240.25),(3400,-240.05),(3453.8,-240.05),(3453.8,254.05),(3215.2,254.05),(3215.2,-34.95),(3100,-34.95),(3100,-34.75),(3215,-34.75),(3215,254.25),(3454,254.25),(3454,-240.25)],
  [(3400,-279.95),(3400,-279.75),(3458,-279.75),(3458,258.25),(3211,258.25),(3211,-20.25),(3100,-20.25),(3100,-20.05),(3210.8,-20.05),(3210.8,258.45),(3458.2,258.45),(3458.2,-279.95)],
  [(3400,-280.25),(3400,-280.05),(3458.3,-280.05),(3458.3,258.55),(3210.7,258.55),(3210.7,-19.95),(3100,-19.95),(3100,-19.75),(3210.5,-19.75),(3210.5,258.75),(3458.5,258.75),(3458.5,-280.25)],
  [(3400,-319.95),(3400,-319.75),(3462.5,-319.75),(3462.5,262.75),(3206.5,262.75),(3206.5,-5.25),(3100,-5.25),(3100,-5.05),(3206.3,-5.05),(3206.3,262.95),(3462.7,262.95),(3462.7,-319.95)],
  [(3400,-320.25),(3400,-320.05),(3462.8,-320.05),(3462.8,263.05),(3206.2,263.05),(3206.2,-4.95),(3100,-4.95),(3100,-4.75),(3206,-4.75),(3206,263.25),(3463,263.25),(3463,-320.25)],
  [(3400,-359.95),(3400,-359.75),(3467,-359.75),(3467,267.25),(3202,267.25),(3202,9.75),(3100,9.75),(3100,9.95),(3201.8,9.95),(3201.8,267.45),(3467.2,267.45),(3467.2,-359.95)],
  [(3400,-360.25),(3400,-360.05),(3467.3,-360.05),(3467.3,267.55),(3201.7,267.55),(3201.7,10.05),(3100,10.05),(3100,10.25),(3201.5,10.25),(3201.5,267.75),(3467.5,267.75),(3467.5,-360.25)],
  [(3400,-399.95),(3400,-399.75),(3471.5,-399.75),(3471.5,271.75),(3197.5,271.75),(3197.5,24.75),(3100,24.75),(3100,24.95),(3197.3,24.95),(3197.3,271.95),(3471.7,271.95),(3471.7,-399.95)],
  [(3400,-400.25),(3400,-400.05),(3471.8,-400.05),(3471.8,272.05),(3197.2,272.05),(3197.2,25.05),(3100,25.05),(3100,25.25),(3197,25.25),(3197,272.25),(3472,272.25),(3472,-400.25)],
  [(3400,-439.95),(3400,-439.75),(3476,-439.75),(3476,276.25),(3193,276.25),(3193,39.75),(3100,39.75),(3100,39.95),(3192.8,39.95),(3192.8,276.45),(3476.2,276.45),(3476.2,-439.95)],
  [(3400,-440.25),(3400,-440.05),(3476.3,-440.05),(3476.3,276.55),(3192.7,276.55),(3192.7,40.05),(3100,40.05),(3100,40.25),(3192.5,40.25),(3192.5,276.75),(3476.5,276.75),(3476.5,-440.25)],
  [(3400,-479.95),(3400,-479.75),(3480.5,-479.75),(3480.5,280.75),(3188.5,280.75),(3188.5,54.75),(3100,54.75),(3100,54.95),(3188.3,54.95),(3188.3,280.95),(3480.7,280.95),(3480.7,-479.95)],
  [(3400,-480.25),(3400,-480.05),(3480.8,-480.05),(3480.8,281.05),(3188.2,281.05),(3188.2,55.05),(3100,55.05),(3100,55.25),(3188,55.25),(3188,281.25),(3481,281.25),(3481,-480.25)],
  [(3400,-519.95),(3400,-519.75),(3485,-519.75),(3485,285.25),(3184,285.25),(3184,69.75),(3100,69.75),(3100,69.95),(3183.8,69.95),(3183.8,285.45),(3485.2,285.45),(3485.2,-519.95)],
  [(3400,-520.25),(3400,-520.05),(3485.3,-520.05),(3485.3,285.55),(3183.7,285.55),(3183.7,70.05),(3100,70.05),(3100,70.25),(3183.5,70.25),(3183.5,285.75),(3485.5,285.75),(3485.5,-520.25)],
  [(3400,-559.95),(3400,-559.75),(3489.5,-559.75),(3489.5,289.75),(3179.5,289.75),(3179.5,84.75),(3100,84.75),(3100,84.95),(3179.3,84.95),(3179.3,289.95),(3489.7,289.95),(3489.7,-559.95)],
  [(3400,-560.25),(3400,-560.05),(3489.8,-560.05),(3489.8,290.05),(3179.2,290.05),(3179.2,85.05),(3100,85.05),(3100,85.25),(3179,85.25),(3179,290.25),(3490,290.25),(3490,-560.25)])
R(test_smart_routing_start, FLOORPLAN, [(-175,-175,175,175), (2825,-175,3175,175), (-175,2825,175,3175), (2825,2825,3175,3175)])
P(test_smart_routing_start, FLOORPLAN, [(-400,-200),(-400,560),(-400,560),(-400,-200)],
  [(-560,2600),(-560,2600),(200,2600),(200,2600)],
  [(3400,-560),(3400,200),(3400,200),(3400,-560)],
  [(2800,3400),(2800,3400),(3560,3400),(3560,3400)])

lib.write_gds('test_smart_routing_start_bboxTrue_sort_portsFalse_indirectTrue_start_angle1m2False_m1False_zTrue_p1True_p2False.gds')
